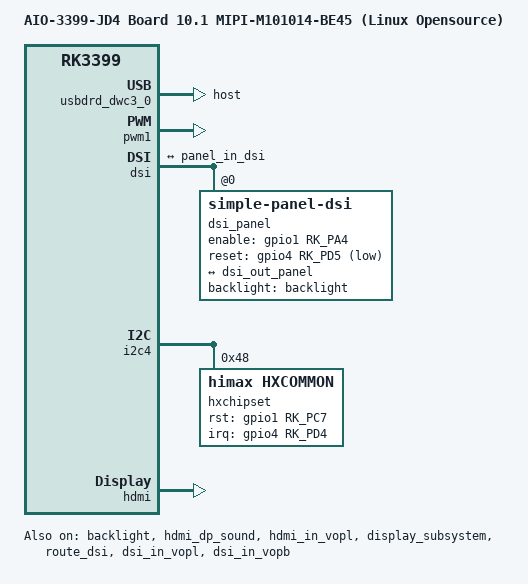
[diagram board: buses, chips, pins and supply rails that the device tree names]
/dts-v1/;

#include "rk3399-firefly-aiojd4.dtsi"

/ {
	model = "AIO-3399-JD4 Board 10.1 MIPI-M101014-BE45 (Linux Opensource)";
	compatible = "rockchip,rk3399-firefly", "rockchip,rk3399";
};

&usbdrd_dwc3_0 {
    dr_mode = "host";
};

&pwm1 {
	status = "okay";
};

&backlight {
	status = "okay";
	pwms = <&pwm1 0 50000 1>;
	enable-gpios = <&gpio0 RK_PA1 GPIO_ACTIVE_HIGH>;
	brightness-levels = <
		 60  60  60  61  61  61  62  62
		 62  63  63  63  64  64  64  65
		 65  65  66  66  66  67  67  67
		 68  68  68  69  69  69  70  70
		 70  71  71  71  72  72  72  73
		 73  73  74  74  74  75  75  75
		 76  76  76  77  77  77  78  78
		 78  79  79  79  80  80  80  81
		 81  81  82  82  82  83  83  83
		 84  84  84  85  85  85  86  86
		 86  87  87  87  88  88  88  89
		 89  89  90  91  92  93  94  95
		 96  97  98  99 100 101 102 103
		104 105 106 107 108 109 110 111
		112 113 114 115 116 117 118 119
		120 121 122 123 124 125 126 127
		128 129 130 131 132 133 134 135
		136 137 138 139 140 141 142 143
		144 145 146 147 148 149 150 151
		152 153 154 155 156 157 158 159
		160 161 162 163 164 165 166 167
		168 169 170 171 172 173 174 175
		176 177 178 179 180 181 182 183
		184 185 186 187 188 189 190 191
		192 193 194 195 196 197 198 199
		200 201 202 203 204 205 206 207
		208 209 210 211 212 213 214 215
		216 217 218 219 220 221 222 223
		224 225 226 227 228 229 230 231
		232 233 234 235 236 237 238 239
		240 241 242 243 244 245 246 247
		248 249 250 251 252 253 254 255
	>;
	default-brightness-level = <200>;
	polarity = <1>;
};

&dsi {
	status = "okay";

	dsi_panel: panel@0 {
		compatible = "simple-panel-dsi";
		reg = <0>;
		backlight = <&backlight>;
		//power-supply = <&vcc_lcd>;
		enable-gpios = <&gpio1 RK_PA4 GPIO_ACTIVE_HIGH>;
		reset-gpios = <&gpio4 RK_PD5 GPIO_ACTIVE_LOW>;
		dsi,flags = <(MIPI_DSI_MODE_VIDEO | MIPI_DSI_MODE_VIDEO_BURST | MIPI_DSI_MODE_LPM | MIPI_DSI_MODE_EOT_PACKET)>;
		dsi,format = <MIPI_DSI_FMT_RGB888>;
		bus-format = <MEDIA_BUS_FMT_RGB666_1X18>;
		dsi,lanes = <4>;

		enable-delay-ms = <35>;
		prepare-delay-ms = <6>;
		reset-delay-ms = <25>;
		init-delay-ms = <55>;
		unprepare-delay-ms = <0>;
		disable-delay-ms = <20>;
		size,width = <120>;
		size,height = <170>;

		status = "okay";

		//width-mm = <135>;
		//height-mm = <217>;

		panel-init-sequence = [
			05 78 01 11
			05 32 01 29
		];

		panel-exit-sequence = [
			05 05 01 28
			05 78 01 10
		];

		disp_timings: display-timings {
			native-mode = <&timing0>;

			timing0: timing0 {
				clock-frequency = <72600000>;//<80000000>;
				hactive = <800>;//<768>;
				vactive = <1280>;
				hsync-len = <14>;   //20, 50,10
				hback-porch = <26>; //50, 56,10
				hfront-porch = <32>;//50, 30,180
				vsync-len = <8>;//4
				vback-porch = <20>;//4
				vfront-porch = <80>;//8
				hsync-active = <0>;
				vsync-active = <0>;
				de-active = <0>;
				pixelclk-active = <0>;
			};
		};

		ports {
			#address-cells = <1>;
			#size-cells = <0>;

			port@0 {
				reg = <0>;
				panel_in_dsi: endpoint {
					remote-endpoint = <&dsi_out_panel>;
				};
			};
		};
	};

	ports {
		#address-cells = <1>;
		#size-cells = <0>;

		port@1 {
			reg = <1>;
			dsi_out_panel: endpoint {
				remote-endpoint = <&panel_in_dsi>;
			};
		};
	};
};

&i2c4 {
	status = "okay";

	hxchipset@48 {
        status = "okay";
        compatible = "himax,hxcommon";
        reg = <0x48>;

        himax,rst-gpio =  <&gpio1 RK_PC7 GPIO_ACTIVE_HIGH>;
        himax,irq-gpio = <&gpio4 RK_PD4 IRQ_TYPE_LEVEL_LOW>;
        //himax,3v3-gpio = <&gpio0 RK_PB4 GPIO_ACTIVE_HIGH>;
        //himax,pon-gpio = <&gpio0 RK_PB4 GPIO_ACTIVE_HIGH>;

        himax,panel-coords = <0 800 0 1280>;      //触摸范围
        himax,display-coords = <0 800 0 1280>;    //分辨率
        report_type = <1>;
    };
};

&hdmi_dp_sound {
	status = "okay";
};

&dp_in_vopb {
	status = "disabled";
};

&hdmi_in_vopb {
	status = "disabled";
};

&hdmi_in_vopl {
	status = "okay";
};

&display_subsystem {
	status = "okay";
};

&route_hdmi {
	status = "disabled";
	connect = <&vopl_out_hdmi>;
};

&route_dsi {
	status = "okay";
	connect = <&vopb_out_dsi>;
};

&dsi_in_vopl {
	status = "okay";
};

&dsi_in_vopb {
	status = "okay";
};

&hdmi {
	status = "okay";
};
